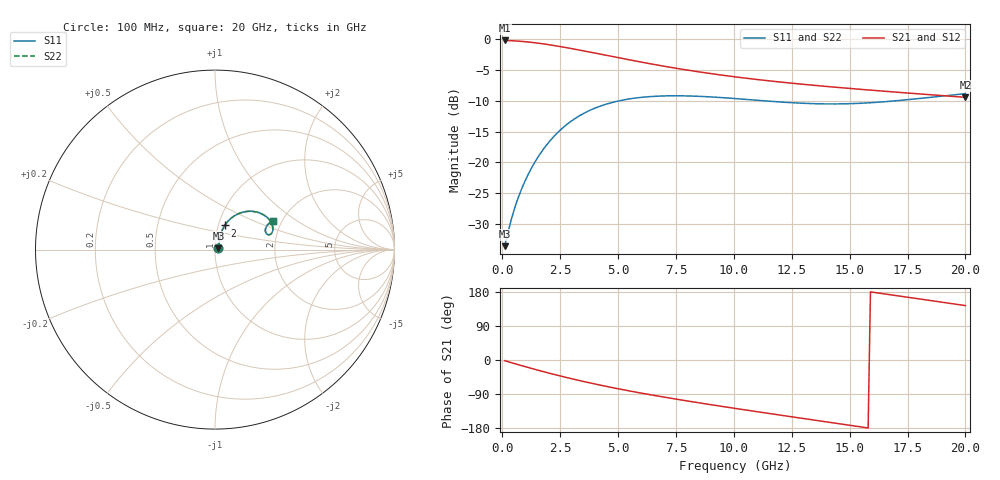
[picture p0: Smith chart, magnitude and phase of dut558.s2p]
! Touchstone file exported from HFSS 2024.1.0
!  File:  C:/UserFiles/LocalFiles/RDL_TSV_Batchsim/temp_RDL_TSV_558_1779751511.aedt
!  Generated:  07:43:09 AM May 26, 2026
!  Design:  RDL_TSV
!  Project:  temp_RDL_TSV_558_1779751511
!  Setup:  Setup1
!  Solution:  Sweep
! Variables:
!  dtsv = 9.38um
!  hbump = 3um
!  htsv = 58.44um
!  ldown = 374.38um
!  lrdl = 552.84um
!  p = 40
!  p1 = 47.64um
!  rhole = 10um
!  subl = 3334.5um
!  t = 450um
!  tdown = 3.86um
!  trdl = 4.09um
!  viad = 10um
!  wdown = 12.26um
!  wrdl = 18.01um
!  xbump = 18um
# GHz S MA R 50.000000
! Terminal data exported
! Port[1] = TM1_1_T1
! Port[2] = TM1_4_T1
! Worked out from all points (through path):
!   200 points, 100 MHz to 20 GHz, reference 50 ohm
!   highest |S21| = -0.17 dB at 100 MHz (marker M1); lowest = -9.4 dB at 20 GHz (marker M2)
!   group delay of S21, straight-line fit = 28.3 ps
!   lowest |S11| = -33.7 dB at 100 MHz (marker M3), VSWR 1.04, Z = 52 + j0.747 ohm
!   |S11| at or under -10 dB: start of sweep to 5.042 GHz; 11.32 GHz to 16.98 GHz (5.657 GHz wide, 40 % of centre)
!   |S22| runs from -33.7 to -8.8 dB; largest |S21 - S12| = 1.3e-14
!   S11 on the Smith chart (normalised r, x): 100 MHz: 1.04, +0.01; 2 GHz: 1.07, +0.29; 20 GHz: 1.81, +0.66
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0.1  0.02075 20.2  0.9804 -1.8  0.9804 -1.8  0.02075 20.2
! Gamma 0 0 0 0
! Port Impedance 50 0 50 0
0.3  0.02946 44.6  0.9775 -5.5  0.9775 -5.5  0.02946 44.6
0.5  0.04034 55.9  0.9733 -9.0  0.9733 -9.0  0.04034 55.9
0.7  0.05218 62.3  0.9678 -12.5  0.9678 -12.5  0.05218 62.3
0.9  0.06489 66.1  0.9612 -16.0  0.9612 -16.0  0.06489 66.1
1.1  0.07837 68.3  0.9533 -19.5  0.9533 -19.5  0.07836 68.3
1.4  0.09977 69.6  0.9395 -24.5  0.9395 -24.5  0.09974 69.6
2  0.145 68.0  0.9062 -34.3  0.9062 -34.3  0.1449 68.0
2.7  0.1969 62.8  0.8616 -45.1  0.8616 -45.1  0.1968 62.7
3.5  0.249 55.2  0.8076 -56.6  0.8076 -56.6  0.2488 55.2
4.2  0.285 48.5  0.7609 -65.9  0.7609 -65.9  0.2848 48.5
4.9  0.3119 42.2  0.7164 -74.7  0.7164 -74.7  0.3117 42.2
5.8  0.3341 35.1  0.6642 -85.2  0.6642 -85.2  0.3339 35.1
6.8  0.3458 28.5  0.6134 -96.0  0.6134 -96.0  0.3455 28.5
8.4  0.3447 20.8  0.5474 -112.1  0.5474 -112.1  0.3445 20.8
10.1  0.3296 16.3  0.4943 -128.2  0.4943 -128.2  0.3294 16.3
11.7  0.3124 15.4  0.456 -142.7  0.456 -142.7  0.3122 15.3
13.4  0.3 17.3  0.4239 -158.0  0.4239 -158.0  0.2999 17.2
15  0.2998 20.6  0.3989 -172.2  0.3989 -172.2  0.2995 20.6
16.7  0.313 24.0  0.376 172.6  0.376 172.6  0.3127 24.0
18.4  0.3363 25.9  0.3554 157.6  0.3554 157.6  0.3359 25.8
20  0.3618 25.9  0.3378 143.6  0.3378 143.6  0.3614 25.8
